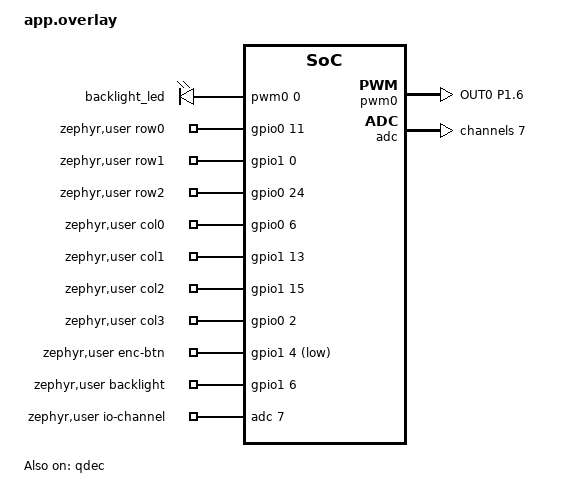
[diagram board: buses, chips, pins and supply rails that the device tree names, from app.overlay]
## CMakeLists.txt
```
cmake_minimum_required(VERSION 3.20.0)
find_package(Zephyr REQUIRED HINTS $ENV{ZEPHYR_BASE})
project(macropad)

target_sources(app PRIVATE
  src/main.c
  src/app_events.c
  src/app_sm.c
  src/hog.c
  )
```

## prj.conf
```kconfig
# --- СТАБІЛЬНІСТЬ ТА ПАМ'ЯТЬ ---
CONFIG_MAIN_STACK_SIZE=4096
CONFIG_SYSTEM_WORKQUEUE_STACK_SIZE=4096
CONFIG_BT_RX_STACK_SIZE=2048
CONFIG_HEAP_MEM_POOL_SIZE=2048

CONFIG_BT=y     
CONFIG_LOG=n
CONFIG_BT_SMP=y
CONFIG_BT_PERIPHERAL=y
CONFIG_BT_DIS=y
CONFIG_BT_BAS=y
CONFIG_BT_DEVICE_NAME="My Macropad"
CONFIG_BT_DEVICE_APPEARANCE=961 

CONFIG_BT_SETTINGS=y
CONFIG_FLASH=y
CONFIG_FLASH_PAGE_LAYOUT=y
CONFIG_FLASH_MAP=y
CONFIG_NVS=y
CONFIG_SETTINGS=y

CONFIG_GPIO=y

CONFIG_USE_DT_CODE_PARTITION=n

CONFIG_CLOCK_CONTROL_NRF_K32SRC_RC=y
CONFIG_CLOCK_CONTROL_NRF_K32SRC_250PPM=y

# --- НОВІ НАЛАШТУВАННЯ ДЛЯ МАКРОПАДУ ТА МУЛЬТИПІДКЛЮЧЕННЯ ---
CONFIG_BT_MAX_CONN=3
CONFIG_BT_MAX_PAIRED=3
CONFIG_BT_BONDABLE=y
CONFIG_BT_KEYS_OVERWRITE_OLDEST=y
# Дозволяємо системі коректно спати між натисканнями
#CONFIG_PM_DEVICE=y

CONFIG_KSCAN=y

# Підтримка сенсорів (для QDEC енкодера)
CONFIG_SENSOR=y

# Якщо плануєш використовувати PWM для плавного згасання LED (опціонально)
CONFIG_PWM=y
CONFIG_LED=y

# Перенаправлення консолі на RTT
CONFIG_USE_SEGGER_RTT=n
CONFIG_RTT_CONSOLE=n
CONFIG_CONSOLE=n
CONFIG_UART_CONSOLE=n

# Обов'язково для nRF52, щоб він не засинав занадто глибоко під час налагодження
CONFIG_SERIAL=n

CONFIG_NFCT_PINS_AS_GPIOS=y


CONFIG_ADC=y
CONFIG_ADC_NRFX_SAADC=y
CONFIG_BT_BAS=y

# --- LOW POWER SLEEP SUPPORT ---
# nRF52840 uses standard Zephyr sleep APIs
# GPIO interrupts work with standard GPIO configuration
# No special PM config needed

CONFIG_PWM=y
CONFIG_LED=y
CONFIG_LED_PWM=y

# --- Розширення розміру пакету даних (DLE & MTU) ---
CONFIG_BT_USER_DATA_LEN_UPDATE=y
CONFIG_BT_CTLR_DATA_LENGTH_MAX=251
CONFIG_BT_BUF_ACL_RX_SIZE=251
CONFIG_BT_BUF_ACL_TX_SIZE=251
CONFIG_BT_L2CAP_TX_MTU=247
```

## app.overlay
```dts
#include <dt-bindings/gpio/gpio.h>
#include <dt-bindings/pinctrl/nrf-pinctrl.h>
#include <dt-bindings/adc/adc.h>

&pinctrl {
    /* Конфігурація для PWM */
    pwm0_default: pwm0_default {
        group1 {
            psels = <NRF_PSEL(PWM_OUT0, 1, 6)>;
            nordic,drive-mode = <NRF_DRIVE_H0H1>;
        }; /* <--- Ось ці крапки з комою були пропущені */
    };

    pwm0_sleep: pwm0_sleep {
        group1 {
            psels = <NRF_PSEL(PWM_OUT0, 1, 6)>;
            low-power-enable;
        }; /* <--- */
    };

    /* Конфігурація для QDEC (Енкодер) */
    qdec_default: qdec_default {
        group1 {
            psels = <NRF_PSEL(QDEC_A, 0, 9)>, 
                    <NRF_PSEL(QDEC_B, 0, 10)>;
            bias-pull-up;
        }; /* <--- */
    };
    
    qdec_sleep: qdec_sleep {
        group1 {
            psels = <NRF_PSEL(QDEC_A, 0, 9)>, 
                    <NRF_PSEL(QDEC_B, 0, 10)>;
            bias-pull-up;
            low-power-enable;
        }; /* <--- */
    };
};


/* Активація PWM */
&pwm0 {
    status = "okay";
    pinctrl-0 = <&pwm0_default>;
    pinctrl-1 = <&pwm0_sleep>;
    pinctrl-names = "default", "sleep";
};

/* 2. Активація апаратного декодера для енкодера */
&qdec {
    status = "okay";
    pinctrl-0 = <&qdec_default>;
    pinctrl-1 = <&qdec_sleep>;
    pinctrl-names = "default", "sleep";
    steps = <24>;
    led-pre = <0>;
};

&slot1_partition {
    reg = <0x82000 0x73000>;
};

&flash0 {
    partitions {
        compatible = "fixed-partitions";
        #address-cells = <1>;
        #size-cells = <1>;

        app_storage_partition: partition@f5000 {
            label = "app-storage";
            reg = <0xf5000 0x3000>;
        };
    };
};

/ {
    /* Створюємо зручний псевдонім для PWM LED */
    pwm_leds {
        compatible = "pwm-leds";
        backlight_led: pwm_led_0 {
            /* Період 1 мілісекунда (1000 Гц) - ідеально, щоб не мерехтіло на камері */
            pwms = <&pwm0 0 PWM_MSEC(1) PWM_POLARITY_NORMAL>; 
        };
    };
    /* 4. Матриця клавіатури та кнопка енкодера */
    zephyr,user {
        /* Battary (Rows): P0.31 */
        io-channels = <&adc 7>;

        /* Рядочки (Rows): P0.11, P1.00, P0.24 */
        row0-gpios = <&gpio0 11 (GPIO_ACTIVE_HIGH | GPIO_PULL_DOWN)>;
        row1-gpios = <&gpio1 0  (GPIO_ACTIVE_HIGH | GPIO_PULL_DOWN)>;
        row2-gpios = <&gpio0 24 (GPIO_ACTIVE_HIGH | GPIO_PULL_DOWN)>;
        
        /* Стовпчики (Cols): P0.06, P1.13, P1.15, P0.2 */
        col0-gpios = <&gpio0 6  GPIO_ACTIVE_HIGH>;
        col1-gpios = <&gpio1 13 GPIO_ACTIVE_HIGH>;
        col2-gpios = <&gpio1 15 GPIO_ACTIVE_HIGH>;
        col3-gpios = <&gpio0 2 GPIO_ACTIVE_HIGH>;
        
        /* Кнопка енкодера: P1.04 */
        enc-btn-gpios = <&gpio1 4 (GPIO_ACTIVE_LOW | GPIO_PULL_UP)>;
        backlight-gpios = <&gpio1 6 GPIO_ACTIVE_HIGH>; 
    };
};

&adc {
    status = "okay";
    #address-cells = <1>;
    #size-cells = <0>;

    channel@7 {
        reg = <7>;
        zephyr,gain = "ADC_GAIN_1_6";
        zephyr,reference = "ADC_REF_INTERNAL";
        zephyr,acquisition-time = <ADC_ACQ_TIME(ADC_ACQ_TIME_MICROSECONDS, 40)>;
        zephyr,input-positive = <8>;   /* AIN7 = P0.31 */
        zephyr,resolution = <12>;
    };
};
```

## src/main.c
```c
#include <zephyr/types.h>
#include <stddef.h>
#include <string.h>
#include <errno.h>
#include <zephyr/sys/printk.h>
#include <zephyr/sys/byteorder.h>
#include <zephyr/kernel.h>
#include <zephyr/settings/settings.h>
#include <zephyr/sys/reboot.h>
#include <zephyr/devicetree.h>
#include <zephyr/fs/nvs.h>
#include <zephyr/storage/flash_map.h>
#include <zephyr/drivers/flash.h>
#include <zephyr/bluetooth/bluetooth.h>
#include <zephyr/bluetooth/hci.h>
#include <zephyr/bluetooth/conn.h>
#include <zephyr/bluetooth/uuid.h>
#include <zephyr/bluetooth/gatt.h>
#include <hal/nrf_gpio.h>
#include <hal/nrf_power.h>

/* Підключаємо заголовочні файли модулів */
#include "hog.h"
#include "app_events.h"
#include "app_sm.h"

#define DIAG_IMMEDIATE_SYSTEM_OFF 0

/* Лічильник активних підключень. Потрібен для підтримки мульти-підключення 
   (коли макропад підключений до кількох пристроїв одночасно) */
uint8_t active_connections = 0;
static bool advertising_active = false;
static bool ble_hid_ready = false;
static bool bt_stack_ready = false;
static uint8_t security_fail_count = 0;

#define BLE_STORAGE_MIGRATION_ID    0x7f00
#define BLE_STORAGE_MIGRATION_MAGIC 0x42544d31u
#define APP_NVS_PARTITION           app_storage_partition
#define BT_SETTINGS_PARTITION       storage_partition

static void ble_settings_save_work_handler(struct k_work *work);
static K_WORK_DEFINE(ble_settings_save_work, ble_settings_save_work_handler);

static void ble_settings_save_work_handler(struct k_work *work)
{
    ARG_UNUSED(work);

    if (IS_ENABLED(CONFIG_SETTINGS)) {
        int save_err = settings_save();
        printk("BLE: settings_save after security err=%d\n", save_err);
    }
}

#if DIAG_IMMEDIATE_SYSTEM_OFF
static void diag_immediate_system_off(void)
{
    printk("DIAG: immediate GPIO default + SYSTEM OFF\n");

    for (uint8_t pin = 0; pin < 32; pin++) {
        nrf_gpio_cfg_default(NRF_GPIO_PIN_MAP(0, pin));
    }

#if DT_NODE_HAS_STATUS(DT_NODELABEL(gpio1), okay)
    for (uint8_t pin = 0; pin < 16; pin++) {
        nrf_gpio_cfg_default(NRF_GPIO_PIN_MAP(1, pin));
    }
#endif

    nrf_power_system_off(NRF_POWER);

    printk("DIAG ERROR: nrf_power_system_off returned\n");
    sys_reboot(SYS_REBOOT_COLD);
}
#endif

static void ble_storage_migration_once(void)
{
    struct nvs_fs fs = {0};
    struct flash_pages_info info;
    const struct flash_area *bt_area;
    uint32_t marker = 0;
    bool app_storage_erased = false;
    int err;

    fs.flash_device = FIXED_PARTITION_DEVICE(APP_NVS_PARTITION);
    if (!device_is_ready(fs.flash_device)) {
        printk("BLE: app storage flash not ready, skip migration\n");
        return;
    }

    fs.offset = FIXED_PARTITION_OFFSET(APP_NVS_PARTITION);
    err = flash_get_page_info_by_offs(fs.flash_device, fs.offset, &info);
    if (err) {
        printk("BLE: app storage page info failed err=%d\n", err);
        return;
    }

    fs.sector_size = info.size;
    fs.sector_count = FIXED_PARTITION_SIZE(APP_NVS_PARTITION) / info.size;

    err = nvs_mount(&fs);
    if (err) {
        const struct flash_area *app_area;

        printk("BLE: app storage migration mount failed err=%d, erasing app storage\n", err);
        err = flash_area_open(FIXED_PARTITION_ID(APP_NVS_PARTITION), &app_area);
        if (err) {
            printk("BLE: app storage open failed err=%d\n", err);
            return;
        }

        err = flash_area_erase(app_area, 0, app_area->fa_size);
        flash_area_close(app_area);
        if (err) {
            printk("BLE: app storage erase failed err=%d\n", err);
            return;
        }
        app_storage_erased = true;

        err = nvs_mount(&fs);
        if (err) {
            printk("BLE: app storage migration remount failed err=%d\n", err);
            return;
        }
    }

    err = nvs_read(&fs, BLE_STORAGE_MIGRATION_ID, &marker, sizeof(marker));
    if (err == sizeof(marker) && marker == BLE_STORAGE_MIGRATION_MAGIC) {
        return;
    }

    if (!app_storage_erased) {
        const struct flash_area *app_area;

        err = flash_area_open(FIXED_PARTITION_ID(APP_NVS_PARTITION), &app_area);
        if (err) {
            printk("BLE: app storage open failed err=%d\n", err);
            return;
        }

        err = flash_area_erase(app_area, 0, app_area->fa_size);
        flash_area_close(app_area);
        if (err) {
            printk("BLE: app storage erase failed err=%d\n", err);
            return;
        }

        err = nvs_mount(&fs);
        if (err) {
            printk("BLE: app storage migration remount failed err=%d\n", err);
            return;
        }
    }

    err = flash_area_open(FIXED_PARTITION_ID(BT_SETTINGS_PARTITION), &bt_area);
    if (err) {
        printk("BLE: settings partition open failed err=%d\n", err);
        return;
    }

    err = flash_area_erase(bt_area, 0, bt_area->fa_size);
    flash_area_close(bt_area);
    if (err) {
        printk("BLE: settings partition erase failed err=%d\n", err);
        return;
    }

    marker = BLE_STORAGE_MIGRATION_MAGIC;
    err = nvs_write(&fs, BLE_STORAGE_MIGRATION_ID, &marker, sizeof(marker));
    printk("BLE: split app storage from BT settings, erased old settings err=%d\n", err < 0 ? err : 0);
}
/* ========================================================================== *
 * 1. НАЛАШТУВАННЯ РЕКЛАМИ (ADVERTISING)
 * Це те, що бачить телефон або комп'ютер під час пошуку Bluetooth пристроїв
 * ========================================================================== */
static const struct bt_data ad[] = {
    /* Вказуємо, що це звичайний BLE пристрій (без підтримки старого Bluetooth Classic) */
    BT_DATA_BYTES(BT_DATA_FLAGS, (BT_LE_AD_GENERAL | BT_LE_AD_NO_BREDR)),
    
    /* Транслюємо UUID сервісів, щоб ОС відразу зрозуміла, що це за пристрій:
       - HIDS_VAL (0x1812): HID-пристрій (клавіатура/миша)
       - BAS_VAL  (0x180F): Сервіс батареї */
    BT_DATA_BYTES(BT_DATA_UUID16_ALL,
              BT_UUID_16_ENCODE(BT_UUID_HIDS_VAL),
              BT_UUID_16_ENCODE(BT_UUID_BAS_VAL)),
};

/* Функція для запуску трансляції (щоб макропад став видимим для пошуку) */
int ble_app_start_advertising(void)
{
    static bool first_advertising_after_boot = true;
    if (first_advertising_after_boot) {
        first_advertising_after_boot = false;
        printk("BLE: first advertising after boot, waiting for host/security stability\n");
        k_msleep(1000);
    }

    int err = bt_le_adv_stop();
    if (err && err != -EALREADY) {
        printk("BLE: Advertising stop before restart failed (err %d)\n", err);
    }

    err = bt_le_adv_start(BT_LE_ADV_CONN_NAME, ad, ARRAY_SIZE(ad), NULL, 0);
    if (err) {
        if (err == -EALREADY) {
            printk("BLE: Advertising already started\n");
            advertising_active = true;
        } else {
            printk("BLE: Advertising failed to start (err %d), retrying\n", err);
            k_msleep(50);
            err = bt_le_adv_start(BT_LE_ADV_CONN_NAME, ad, ARRAY_SIZE(ad), NULL, 0);
            if (!err) {
                printk("BLE: Advertising successfully started on retry\n");
                advertising_active = true;
            } else {
                printk("BLE: Advertising retry failed (err %d)\n", err);
                return err;
            }
        }
    } else {
        printk("BLE: Advertising successfully started\n");
        advertising_active = true;
    }

    return 0;
}

/* Stop advertising */
int ble_app_stop_advertising(void)
{
    int err = bt_le_adv_stop();
    if (err && err != -EALREADY && err != -EINVAL) {
        printk("BLE: Advertising stop failed (err %d)\n", err);
        return err;
    }

    advertising_active = false;
    printk("BLE: Advertising stopped\n");
    return 0;
}

/* Get active connection count */
uint8_t ble_app_active_connections(void)
{
    return active_connections;
}

/* Check if we have free connection slots */
bool ble_app_has_free_connection_slots(void)
{
    return active_connections < CONFIG_BT_MAX_CONN;
}

bool ble_app_can_send_hid(void)
{
    return active_connections > 0 && ble_hid_ready;
}

static void disconnect_one_conn_for_clear_bonds(struct bt_conn *conn, void *data)
{
    ARG_UNUSED(data);

    int err = bt_conn_disconnect(conn, BT_HCI_ERR_REMOTE_USER_TERM_CONN);
    printk("BT: disconnect for clear bonds err=%d\n", err);
}

static void disconnect_one_conn_for_sleep(struct bt_conn *conn, void *data)
{
    ARG_UNUSED(data);

    int err = bt_conn_disconnect(conn, BT_HCI_ERR_REMOTE_USER_TERM_CONN);
    if (err) {
        printk("BLE: sleep disconnect failed err=%d\n", err);
    }
}

/* Low-level BLE shutdown requested by app_sm before SYSTEM OFF. */
void ble_app_disconnect_all_for_sleep(void)
{
    ble_app_stop_advertising();
    bt_conn_foreach(BT_CONN_TYPE_LE, disconnect_one_conn_for_sleep, NULL);
    printk("BLE: forced off for sleep\n");
}

/* Clear all bonding records */
int ble_app_clear_bonds(void)
{
    printk("BT: clear bonds requested\n");

    if (!bt_stack_ready) {
        printk("BT ERROR: clear bonds requested before Bluetooth ready\n");
        return -EAGAIN;
    }

    /* Stop advertising before disconnecting. This is not the sleep flow. */
    ble_app_stop_advertising();

    /* Disconnect all active LE connections without using sleep helper */
    bt_conn_foreach(BT_CONN_TYPE_LE, disconnect_one_conn_for_clear_bonds, NULL);

    /* Let the controller finish the disconnect procedure */
    k_msleep(500);

    int err = bt_unpair(BT_ID_DEFAULT, BT_ADDR_LE_ANY);
    printk("BT: bt_unpair returned %d\n", err);

    if (err == 0) {
        printk("BT: all local bonds cleared\n");
    } else {
        printk("BT ERROR: bt_unpair failed err=%d\n", err);
    }

    if (IS_ENABLED(CONFIG_SETTINGS)) {
        int save_err = settings_save();
        printk("BT: settings_save returned %d\n", save_err);
    }

    printk("BT: local bonds clear flow complete. Remove/Forgot device on host too.\n");
    printk("BT: rebooting after clear bonds\n");

    k_msleep(500);
#ifdef CONFIG_REBOOT
    sys_reboot(SYS_REBOOT_COLD);
#else
    NVIC_SystemReset();
#endif
    return err;
}

/* Deprecated: use ble_app_start_advertising() instead */
__attribute__((unused))
static void start_advertising(void)
{
    ble_app_start_advertising();
}

/* ========================================================================== *
 * 2. КОЛБЕКИ (ОБРОБНИКИ ПОДІЙ) BLUETOOTH З'ЄДНАННЯ
 * Спрацьовують автоматично, коли хтось підключається або відключається
 * ========================================================================== */

/* Викликається, коли пристрій (ПК або телефон) успішно підключився */
static void connected(struct bt_conn *conn, uint8_t err)
{
    char addr[BT_ADDR_LE_STR_LEN];
    bt_addr_le_to_str(bt_conn_get_dst(conn), addr, sizeof(addr));

    if (err) {
        printk("Failed to connect to %s (%u)\n", addr, err);
        return;
    }

    active_connections++;
    ble_hid_ready = false;
    printk("BLE: Connected %s. Total connections: %d\n", addr, active_connections);

    int sec_err = bt_conn_set_security(conn, BT_SECURITY_L2);
    if (sec_err && sec_err != -EALREADY) {
        printk("BLE: security request failed err=%d\n", sec_err);
    }

    /* Post event to state machine (do not make strategic decisions here) */
    app_post_simple(APP_EVT_BLE_CONNECTED);
}

/* Викликається, коли пристрій відключається (наприклад, вимкнули Bluetooth на ПК) */
static void disconnected(struct bt_conn *conn, uint8_t reason)
{
    char addr[BT_ADDR_LE_STR_LEN];
    bt_addr_le_to_str(bt_conn_get_dst(conn), addr, sizeof(addr));

    if (active_connections > 0) {
        active_connections--;
    }

    ble_hid_ready = false;

    printk("BLE: Disconnected from %s (reason 0x%02x). Total connections: %d\n", addr, reason, active_connections);

    /* Post disconnect event to state machine (state machine will decide about advertising) */
    struct app_event evt = {
        .type = APP_EVT_BLE_DISCONNECTED,
        .data = {
            .ble = {
                .reason = reason,
            }
        }
    };
    app_post_event(&evt);
}

/* Викликається при зміні статусу безпеки (успішне або неуспішне створення пари) */
static void security_changed(struct bt_conn *conn, bt_security_t level, enum bt_security_err err)
{
    char addr[BT_ADDR_LE_STR_LEN];
    bt_addr_le_to_str(bt_conn_get_dst(conn), addr, sizeof(addr));

    if (!err) {
        printk("BLE: Security changed: %s level %u\n", addr, level);
        if (level >= BT_SECURITY_L2) {
            ble_hid_ready = true;
            security_fail_count = 0;
            k_work_submit(&ble_settings_save_work);
            app_post_simple(APP_EVT_BLE_HID_READY);
        }
    } else {
        ble_hid_ready = false;
        security_fail_count++;
        printk("BLE: Security failed: %s level %u err %d\n", addr, level, err);
        app_post_security_failed(err);
    }

    /* Post event to state machine for tracking */
    app_post_simple(APP_EVT_BLE_SECURITY_CHANGED);
}

/* Реєструємо наші обробники подій в системі Zephyr */
BT_CONN_CB_DEFINE(conn_callbacks) = {
    .connected = connected,
    .disconnected = disconnected,
    .security_changed = security_changed,
};

/* ========================================================================== *
 * 3. АВТОРИЗАЦІЯ ТА СТВОРЕННЯ ПАРИ (PAIRING)
 * ========================================================================== */

/* Якщо для створення пари потрібен пін-код (зазвичай для клавіатур без екрану це не використовується, 
   але залишено для сумісності з `CONFIG_SAMPLE_BT_USE_AUTHENTICATION`) */
static void auth_passkey_display(struct bt_conn *conn, unsigned int passkey)
{
    char addr[BT_ADDR_LE_STR_LEN];
    bt_addr_le_to_str(bt_conn_get_dst(conn), addr, sizeof(addr));
    printk("Passkey for %s: %06u\n", addr, passkey);
}

static void auth_cancel(struct bt_conn *conn)
{
    char addr[BT_ADDR_LE_STR_LEN];
    bt_addr_le_to_str(bt_conn_get_dst(conn), addr, sizeof(addr));
    printk("Pairing cancelled: %s\n", addr);
}

static struct bt_conn_auth_cb auth_cb_display = {
    .passkey_display = auth_passkey_display,
    .passkey_entry = NULL,
    .cancel = auth_cancel,
};

/* ========================================================================== *
 * 4. ІНІЦІАЛІЗАЦІЯ ТА ГОЛОВНИЙ ЦИКЛ
 * ========================================================================== */

/* Ця функція викликається автоматично, коли підсистема Bluetooth готова до роботи */
static void bt_ready(int err)
{
    if (err) {
        printk("Bluetooth init failed (err %d)\n", err);
        app_post_error(err);
        return;
    }
    printk("BLE: Bluetooth initialized\n");
    bt_stack_ready = true;

    /* ВАЖЛИВО: Завантажуємо збережені налаштування Bluetooth з Flash пам'яті (NVS).
       Це потрібно, щоб макропад "пам'ятав" спарені комп'ютери після перезавантаження */
    if (IS_ENABLED(CONFIG_SETTINGS)) {
        int settings_err = settings_load();
        printk("BLE: settings_load err=%d\n", settings_err);
    }

    /* Post event to state machine */
    app_post_simple(APP_EVT_BT_READY);
}

/* Точка входу в програму */
int main(void)
{
    int err;

    printk("\n=== MACROPAD V10 with Event-Driven Architecture ===\n");

#if DIAG_IMMEDIATE_SYSTEM_OFF
    diag_immediate_system_off();
#endif

    ble_storage_migration_once();

    /* Initialize and start the state machine after storage migration */
    app_sm_init();

    /* Start state machine thread */
    app_sm_start();

    /* Реєструємо колбеки для створення пари, якщо автентифікація увімкнена в конфігах */
    if (IS_ENABLED(CONFIG_SAMPLE_BT_USE_AUTHENTICATION)) {
        bt_conn_auth_cb_register(&auth_cb_display);
    }

    /* Вмикаємо Bluetooth. Коли він увімкнеться, викличеться колбек bt_ready */
    err = bt_enable(bt_ready);
    if (err) {
        printk("Bluetooth init failed (err %d)\n", err);
        return 0;
    }

    /* Main thread waits forever, events are processed by app_sm and handlers */
    k_sleep(K_FOREVER);

    return 0;
}
```

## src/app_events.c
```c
/** @file
 *  @brief Application Event System Implementation
 */

#include "app_events.h"
#include <zephyr/kernel.h>
#include <zephyr/sys/atomic.h>
#include <zephyr/sys/printk.h>
#include <string.h>

/* Define event message queue: 32 messages of event size, 4-byte alignment */
K_MSGQ_DEFINE(app_event_msgq, sizeof(struct app_event), 32, 4);

static atomic_t block_noncritical_events;

void app_events_block_noncritical(bool blocked)
{
    atomic_set(&block_noncritical_events, blocked ? 1 : 0);
}

void app_post_event(const struct app_event *evt)
{
    if (!evt) {
        printk("APP: Error - NULL event\n");
        return;
    }

    if (atomic_get(&block_noncritical_events) && evt->type != APP_EVT_ERROR) {
        return;
    }

    int err = k_msgq_put(&app_event_msgq, (void *)evt, K_NO_WAIT);
    if (err) {
        printk("APP: Event queue full (type %d), dropped event\n", evt->type);
    }
}

void app_post_simple(enum app_event_type type)
{
    struct app_event evt = {
        .type = type,
        .data.u8 = {0}
    };
    app_post_event(&evt);
}

void app_post_key(enum app_event_type type, uint8_t row, uint8_t col)
{
    struct app_event evt = {
        .type = type,
        .data = {
            .key = {
                .row = row,
                .col = col,
            }
        }
    };
    app_post_event(&evt);
}

void app_post_u8(enum app_event_type type, uint8_t value)
{
    struct app_event evt = {
        .type = type,
        .data = {
            .u8 = {
                .value = value,
            }
        }
    };
    app_post_event(&evt);
}

void app_post_encoder_delta(int delta)
{
    if (delta == 0) {
        return;
    }

    if (delta > 127) {
        delta = 127;
    } else if (delta < -127) {
        delta = -127;
    }

    struct app_event evt = {
        .type = APP_EVT_ENCODER_DELTA,
        .data = {
            .encoder = {
                .delta = delta,
            }
        }
    };
    app_post_event(&evt);
}

void app_post_security_failed(int err)
{
    struct app_event evt = {
        .type = APP_EVT_BLE_SECURITY_FAILED,
        .data = {
            .err = err,
        }
    };
    app_post_event(&evt);
}

void app_post_error(int err)
{
    struct app_event evt = {
        .type = APP_EVT_ERROR,
        .data = {
            .err = err,
        }
    };
    app_post_event(&evt);
}

int app_wait_event(struct app_event *evt)
{
    if (!evt) {
        return -EINVAL;
    }

    int err = k_msgq_get(&app_event_msgq, evt, K_FOREVER);
    return err;
}

/**
 * @brief Get human-readable name for event type (for debug logging)
 */
const char *app_event_type_name(enum app_event_type type)
{
    switch (type) {
    case APP_EVT_BOOT:                   return "BOOT";
    case APP_EVT_BT_READY:               return "BT_READY";
    case APP_EVT_BLE_CONNECTED:          return "BLE_CONNECTED";
    case APP_EVT_BLE_DISCONNECTED:       return "BLE_DISCONNECTED";
    case APP_EVT_BLE_SECURITY_CHANGED:   return "BLE_SECURITY_CHANGED";
    case APP_EVT_BLE_HID_READY:          return "BLE_HID_READY";
    case APP_EVT_BLE_SECURITY_FAILED:    return "BLE_SECURITY_FAILED";
    case APP_EVT_KEY_PRESSED:            return "KEY_PRESSED";
    case APP_EVT_KEY_RELEASED:           return "KEY_RELEASED";
    case APP_EVT_ENCODER_CW:             return "ENCODER_CW";
    case APP_EVT_ENCODER_CCW:            return "ENCODER_CCW";
    case APP_EVT_ENCODER_DELTA:          return "ENCODER_DELTA";
    case APP_EVT_ENCODER_BUTTON_PRESSED: return "ENCODER_BUTTON_PRESSED";
    case APP_EVT_ENCODER_BUTTON_RELEASED:return "ENCODER_BUTTON_RELEASED";
    case APP_EVT_INACTIVITY_TIMEOUT:     return "INACTIVITY_TIMEOUT";
    case APP_EVT_ADVERTISING_RESTART:    return "ADVERTISING_RESTART";
    case APP_EVT_BATTERY_TICK:           return "BATTERY_TICK";
    case APP_EVT_PROFILE_CHANGED:        return "PROFILE_CHANGED";
    case APP_EVT_BACKLIGHT_CHANGED:      return "BACKLIGHT_CHANGED";
    case APP_EVT_SLEEP_TIMEOUT_CHANGED:  return "SLEEP_TIMEOUT_CHANGED";
    case APP_EVT_SEQUENCE_RUN_REQUESTED: return "SEQUENCE_RUN_REQUESTED";
    case APP_EVT_CLEAR_BONDS_REQUESTED:  return "CLEAR_BONDS_REQUESTED";
    case APP_EVT_PREPARE_SLEEP:          return "PREPARE_SLEEP";
    case APP_EVT_ENTER_SYSTEM_OFF:       return "ENTER_SYSTEM_OFF";
    case APP_EVT_ERROR:                  return "ERROR";
    default:                             return "UNKNOWN";
    }
}
```

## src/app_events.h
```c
/** @file
 *  @brief Application Event System
 *  
 *  Centralized event queue for event-driven architecture.
 *  All events from BLE, GPIO, timers, etc. are posted here,
 *  and consumed by the app state machine.
 */

#ifndef APP_EVENTS_H
#define APP_EVENTS_H

#include <stdbool.h>
#include <stdint.h>

/**
 * @brief Application Event Types
 */
enum app_event_type {
    /* System boot */
    APP_EVT_BOOT,

    /* Bluetooth events */
    APP_EVT_BT_READY,
    APP_EVT_BLE_CONNECTED,
    APP_EVT_BLE_DISCONNECTED,
    APP_EVT_BLE_SECURITY_CHANGED,
    APP_EVT_BLE_HID_READY,
    APP_EVT_BLE_SECURITY_FAILED,

    /* Input events - keyboard matrix */
    APP_EVT_KEY_PRESSED,
    APP_EVT_KEY_RELEASED,

    /* Input events - encoder */
    APP_EVT_ENCODER_CW,
    APP_EVT_ENCODER_CCW,
    APP_EVT_ENCODER_DELTA,
    APP_EVT_ENCODER_BUTTON_PRESSED,
    APP_EVT_ENCODER_BUTTON_RELEASED,

    /* Timers and periodic events */
    APP_EVT_INACTIVITY_TIMEOUT,
    APP_EVT_ADVERTISING_RESTART,
    APP_EVT_BATTERY_TICK,

    /* Configuration events */
    APP_EVT_PROFILE_CHANGED,
    APP_EVT_BACKLIGHT_CHANGED,
    APP_EVT_SLEEP_TIMEOUT_CHANGED,
    APP_EVT_SEQUENCE_RUN_REQUESTED,

    /* User action events */
    APP_EVT_CLEAR_BONDS_REQUESTED,

    /* Power management events */
    APP_EVT_PREPARE_SLEEP,
    APP_EVT_ENTER_SYSTEM_OFF,

    /* Error events */
    APP_EVT_ERROR,
};

/**
 * @brief Application Event Structure
 * 
 * Contains event type and optional event-specific data.
 */
struct app_event {
    enum app_event_type type;

    union {
        /* For key press/release: row and column */
        struct {
            uint8_t row;
            uint8_t col;
        } key;

        /* For BLE events: reason code */
        struct {
            uint8_t reason;
        } ble;

        /* For profile/config: index or value */
        struct {
            uint8_t profile_index;
        } profile;

        /* Encoder delta (signed rotation amount) */
        struct {
            int8_t delta;
        } encoder;

        /* Generic 8-bit value */
        struct {
            uint8_t value;
        } u8;

        /* Error code */
        int err;
    } data;
};

/**
 * @brief Post a complete event to the queue
 * 
 * @param evt Pointer to the event structure
 */
void app_post_event(const struct app_event *evt);

/**
 * @brief Post a simple event (no additional data)
 * 
 * @param type Event type
 */
void app_post_simple(enum app_event_type type);

/**
 * @brief Post a key event (press or release)
 * 
 * @param type APP_EVT_KEY_PRESSED or APP_EVT_KEY_RELEASED
 * @param row Matrix row index
 * @param col Matrix column index
 */
void app_post_key(enum app_event_type type, uint8_t row, uint8_t col);

/**
 * @brief Post an event with 8-bit value
 * 
 * @param type Event type
 * @param value 8-bit value
 */
void app_post_u8(enum app_event_type type, uint8_t value);

/**
 * @brief Post an encoder delta event
 * 
 * @param delta Signed encoder delta
 */
void app_post_encoder_delta(int delta);

/**
 * @brief Post a BLE security failed event
 * 
 * @param err BLE security error code
 */
void app_post_security_failed(int err);

/**
 * @brief Post an error event
 * 
 * @param err Error code
 */
void app_post_error(int err);

/**
 * @brief Drop all newly posted non-critical events.
 *
 * APP_EVT_ERROR is still accepted so fatal failures can be observed.
 */
void app_events_block_noncritical(bool blocked);

/**
 * @brief Wait for an event from the queue
 * 
 * Blocks until an event is available.
 * 
 * @param evt Pointer to store received event
 * @return 0 on success, error code otherwise
 */
int app_wait_event(struct app_event *evt);

/**
 * @brief Get human-readable name for event type
 * 
 * Useful for debug logging.
 * 
 * @param type Event type
 * @return String name of the event type
 */
const char *app_event_type_name(enum app_event_type type);

#endif /* APP_EVENTS_H */
```

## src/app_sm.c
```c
/** @file
 *  @brief Application State Machine Implementation
 */

#include "app_sm.h"
#include "app_events.h"
#include "hog.h"
#include <zephyr/kernel.h>
#include <zephyr/sys/printk.h>
#include <zephyr/sys/reboot.h>
#include <zephyr/bluetooth/bluetooth.h>

extern int ble_app_start_advertising(void);
extern int ble_app_stop_advertising(void);
extern uint8_t ble_app_active_connections(void);
extern void ble_app_disconnect_all_for_sleep(void);
extern int ble_app_clear_bonds(void);

#define DEBUG_COMBO_LOG 0
#define DEBUG_ENCODER_LOG 0

/**
 * @brief Application States
 */
enum app_state {
    APP_STATE_BOOT,            /* Initial state */
    APP_STATE_INIT_HW,         /* Initializing hardware */
    APP_STATE_INIT_BT,         /* Waiting for BT to be ready */
    APP_STATE_ADVERTISING,     /* Advertising and ready for connection */
    APP_STATE_LOW_POWER_CONNECTED, /* Connected with backlight off */
    APP_STATE_ACTIVE,          /* Active input processing */
    APP_STATE_PREPARE_SLEEP,   /* Preparing for system off */
    APP_STATE_SYSTEM_OFF,      /* System off (should not return) */
    APP_STATE_ERROR,           /* Error state */
};

static enum app_state current_state = APP_STATE_BOOT;
static bool sleep_in_progress = false;
static bool pending_clear_bonds = false;
static uint8_t reconnect_fail_count = 0;

static void advertising_restart_work_handler(struct k_work *work);
static void cancel_advertising_restart(void);
static K_WORK_DELAYABLE_DEFINE(advertising_restart_work, advertising_restart_work_handler);

/**
 * @brief Helper to get state name for logging
 */
static const char *state_name(enum app_state s)
{
    switch (s) {
    case APP_STATE_BOOT:           return "BOOT";
    case APP_STATE_INIT_HW:        return "INIT_HW";
    case APP_STATE_INIT_BT:        return "INIT_BT";
    case APP_STATE_ADVERTISING:    return "ADVERTISING";
    case APP_STATE_LOW_POWER_CONNECTED: return "LOW_POWER_CONNECTED";
    case APP_STATE_ACTIVE:         return "ACTIVE";
    case APP_STATE_PREPARE_SLEEP:  return "PREPARE_SLEEP";
    case APP_STATE_SYSTEM_OFF:     return "SYSTEM_OFF";
    case APP_STATE_ERROR:          return "ERROR";
    default:                        return "UNKNOWN";
    }
}

const char *app_sm_get_state_name(void)
{
    return state_name(current_state);
}

/**
 * @brief Change state with logging
 */
static void change_state(enum app_state new_state)
{
    if (new_state == current_state) {
        return;
    }

    printk("APP: state %s -> %s\n", state_name(current_state), state_name(new_state));
    current_state = new_state;
}

/**
 * @brief Called when entering a state
 */
static void on_enter(enum app_state state)
{
    switch (state) {
    case APP_STATE_BOOT:
        /* Boot just posts another event */
        break;

    case APP_STATE_INIT_HW:
        printk("APP: Initializing hardware...\n");
        hog_init();
        input_scan_init();
        inactivity_timer_init();
        hog_button_loop();
        input_scan_set_enabled(true);
        /* Automatically transition to INIT_BT after initialization */
        change_state(APP_STATE_INIT_BT);
        break;

    case APP_STATE_INIT_BT:
        printk("APP: Waiting for Bluetooth ready...\n");
        /* Transition happens via APP_EVT_BT_READY */
        break;

    case APP_STATE_ADVERTISING:
        printk("APP: Starting BLE advertising\n");
        input_scan_set_enabled(true);
        ble_app_start_advertising();
        inactivity_timer_reset();
        break;

    case APP_STATE_LOW_POWER_CONNECTED:
        printk("APP: Connected low-power mode\n");
        input_scan_set_enabled(true);
        input_enter_low_power_connected();
        inactivity_timer_reset_system_off_timeout();
        break;

    case APP_STATE_ACTIVE:
        printk("APP: Active input processing\n");
        input_scan_set_enabled(true);
        inactivity_timer_reset();
        break;

    case APP_STATE_PREPARE_SLEEP:
        printk("APP: Preparing for sleep...\n");
        sleep_in_progress = true;
        app_events_block_noncritical(true);
        cancel_advertising_restart();
        inactivity_timer_stop();
        input_scan_set_enabled(false);
        input_disable_runtime_interrupts();
        ble_app_disconnect_all_for_sleep();
        power_prepare_system_off();
        printk("APP: entering real SYSTEM OFF now\n");
        printk("APP: state %s -> %s\n", state_name(current_state), state_name(APP_STATE_SYSTEM_OFF));
        current_state = APP_STATE_SYSTEM_OFF;
        power_enter_system_off();
        /* If we return, system off failed, reboot to recover */
        printk("APP ERROR: power_enter_system_off returned, rebooting\n");
#ifdef CONFIG_REBOOT
        sys_reboot(SYS_REBOOT_COLD);
#else
        NVIC_SystemReset();
#endif
        break;

    case APP_STATE_SYSTEM_OFF:
        printk("APP: Entering system off\n");
        sleep_in_progress = true;
        app_events_block_noncritical(true);
        power_enter_system_off();
        /* Should never return from system_off */
        break;

    case APP_STATE_ERROR:
        printk("APP: ERROR state\n");
        break;

    default:
        break;
    }
}

static void cancel_advertising_restart(void)
{
    k_work_cancel_delayable(&advertising_restart_work);
}

static void advertising_restart_work_handler(struct k_work *work)
{
    ARG_UNUSED(work);

    if (sleep_in_progress) {
        return;
    }

    app_post_simple(APP_EVT_ADVERTISING_RESTART);
}

static void schedule_advertising_restart(uint8_t reason)
{
    if (sleep_in_progress) {
        return;
    }

    reconnect_fail_count++;
    uint32_t delay_ms = reconnect_fail_count * 1000U;

    if (delay_ms > 10000U) {
        delay_ms = 10000U;
    }

    if (reconnect_fail_count >= 5) {
        printk("APP: too many reconnect failures; bonds likely stale. Use clear-bonds combo and remove host device.\n");
    }

    printk("APP: scheduling advertising restart %u ms after disconnect reason 0x%02x\n",
           delay_ms, reason);

    ble_app_stop_advertising();
    change_state(APP_STATE_ADVERTISING);
    input_scan_set_enabled(true);
    inactivity_timer_reset();
    k_work_reschedule(&advertising_restart_work, K_MSEC(delay_ms));
}

/**
 * @brief Called when exiting a state (if needed for cleanup)
 */
__attribute__((unused))
static void on_exit(enum app_state state)
{
    (void)state;
    /* Most states don't need exit logic for now */
}

/**
 * @brief Handle input events (key press/release, encoder)
 */
/**
 * @brief Check and handle clear bonds combo (encoder button + 2+ matrix keys)
 * 
 * This helper is called after input events to detect the combo.
 * If detected, it clears BLE bonding records and restarts advertising.
 */
static bool app_check_clear_bonds_combo(void)
{
#if DEBUG_COMBO_LOG
    printk("APP: combo check enc=%d keys=%u done=%d\n",
           input_encoder_button_is_pressed(),
           input_keyboard_pressed_count(),
           input_combo_unpair_already_done());
#endif

    if (input_combo_unpair_condition()) {
        if (!input_combo_unpair_already_done()) {
            printk("APP: Clear bonds combo detected\n");
            input_combo_unpair_set_done(true);
            int err = ble_app_clear_bonds();
            if (err) {
                input_combo_unpair_set_done(false);
            }
        }
        return true;
    }

    if (input_combo_unpair_already_done()) {
        printk("APP: Clear bonds combo latch reset\n");
    }
    input_combo_unpair_set_done(false);
    return false;
}

static void app_handle_input_event_common(const struct app_event *evt)
{
    enum app_event_type type = evt->type;

    if (current_state == APP_STATE_LOW_POWER_CONNECTED &&
        (type == APP_EVT_KEY_PRESSED ||
         type == APP_EVT_ENCODER_CW ||
         type == APP_EVT_ENCODER_CCW ||
         type == APP_EVT_ENCODER_DELTA ||
         type == APP_EVT_ENCODER_BUTTON_PRESSED)) {
        input_exit_low_power_connected();
        change_state(APP_STATE_ACTIVE);
    }

    inactivity_timer_reset();

    if (app_check_clear_bonds_combo()) {
        return;
    }

    switch (type) {
    case APP_EVT_KEY_PRESSED:
        printk("APP: Key pressed [%d,%d]\n", evt->data.key.row, evt->data.key.col);
        input_handle_key_pressed(evt->data.key.row, evt->data.key.col);
        hid_send_current_input_state();
        if (ble_app_active_connections() > 0 &&
            (current_state == APP_STATE_ADVERTISING ||
             current_state == APP_STATE_LOW_POWER_CONNECTED)) {
            change_state(APP_STATE_ACTIVE);
        }
        break;

    case APP_EVT_KEY_RELEASED:
        printk("APP: Key released [%d,%d]\n", evt->data.key.row, evt->data.key.col);
        hid_send_current_input_state();
        break;

    case APP_EVT_ENCODER_CW:
#if DEBUG_ENCODER_LOG
        printk("APP: ENCODER_CW\n");
#endif
        input_execute_encoder_action(true);
        if (ble_app_active_connections() > 0 &&
            (current_state == APP_STATE_ADVERTISING ||
             current_state == APP_STATE_LOW_POWER_CONNECTED)) {
            change_state(APP_STATE_ACTIVE);
        }
        break;

    case APP_EVT_ENCODER_CCW:
#if DEBUG_ENCODER_LOG
        printk("APP: ENCODER_CCW\n");
#endif
        input_execute_encoder_action(false);
        if (ble_app_active_connections() > 0 &&
            (current_state == APP_STATE_ADVERTISING ||
             current_state == APP_STATE_LOW_POWER_CONNECTED)) {
            change_state(APP_STATE_ACTIVE);
        }
        break;

    case APP_EVT_ENCODER_DELTA:
#if DEBUG_ENCODER_LOG
        printk("APP: ENCODER_DELTA %d\n", evt->data.encoder.delta);
#endif
        input_execute_encoder_delta(evt->data.encoder.delta);
        if (ble_app_active_connections() > 0 &&
            (current_state == APP_STATE_ADVERTISING ||
             current_state == APP_STATE_LOW_POWER_CONNECTED)) {
            change_state(APP_STATE_ACTIVE);
        }
        break;

    case APP_EVT_ENCODER_BUTTON_PRESSED:
        printk("APP: Encoder button pressed\n");
        input_handle_encoder_button_event(type);
        if (ble_app_active_connections() > 0 &&
            (current_state == APP_STATE_ADVERTISING ||
             current_state == APP_STATE_LOW_POWER_CONNECTED)) {
            change_state(APP_STATE_ACTIVE);
        }
        break;

    case APP_EVT_ENCODER_BUTTON_RELEASED:
        printk("APP: Encoder button released\n");
        input_handle_encoder_button_event(type);
        break;

    default:
        break;
    }
}

/**
 * @brief Main event handler
 */
static void handle_event(const struct app_event *evt)
{
    enum app_event_type type = evt->type;

#if !DEBUG_ENCODER_LOG
    if (type != APP_EVT_ENCODER_CW && type != APP_EVT_ENCODER_CCW) {
        printk("APP: event %s in state %s\n", app_event_type_name(type), state_name(current_state));
    }
#else
    printk("APP: event %s in state %s\n", app_event_type_name(type), state_name(current_state));
#endif

    if (current_state == APP_STATE_SYSTEM_OFF) {
        printk("APP: ignoring event %s in SYSTEM_OFF\n", app_event_type_name(type));
        return;
    }

    if (current_state == APP_STATE_PREPARE_SLEEP) {
        if (type == APP_EVT_ERROR) {
            printk("APP: critical error while preparing sleep (code %d)\n", evt->data.err);
        } else {
            printk("APP: ignoring event %s while preparing sleep\n", app_event_type_name(type));
        }
        return;
    }

    switch (type) {
    case APP_EVT_BOOT:
        if (current_state == APP_STATE_BOOT) {
            change_state(APP_STATE_INIT_HW);
            on_enter(APP_STATE_INIT_HW);
        }
        break;

    case APP_EVT_BT_READY:
        if (current_state == APP_STATE_INIT_BT) {
            if (pending_clear_bonds) {
                printk("APP: performing pending clear bonds before advertising\n");
                int err = ble_app_clear_bonds();
                if (err == 0) {
                    input_combo_unpair_set_done(true);
                }
                pending_clear_bonds = false;
            } else {
                change_state(APP_STATE_ADVERTISING);
                on_enter(APP_STATE_ADVERTISING);
            }
        }
        break;

    case APP_EVT_BLE_CONNECTED:
        printk("APP: BLE connected\n");
        cancel_advertising_restart();
        if (current_state == APP_STATE_ADVERTISING) {
            change_state(APP_STATE_ACTIVE);
            on_enter(APP_STATE_ACTIVE);
        }
        break;

    case APP_EVT_BLE_DISCONNECTED:
        printk("APP: BLE disconnected (reason %d)\n", evt->data.ble.reason);
        if (ble_app_active_connections() == 0) {
            if (current_state == APP_STATE_LOW_POWER_CONNECTED) {
                change_state(APP_STATE_PREPARE_SLEEP);
                on_enter(APP_STATE_PREPARE_SLEEP);
                break;
            }

            if (evt->data.ble.reason == 0x13 || evt->data.ble.reason == 0x24) {
                schedule_advertising_restart(evt->data.ble.reason);
                break;
            }
            change_state(APP_STATE_ADVERTISING);
            on_enter(APP_STATE_ADVERTISING);
        }
        /* If there are still active connections, stay in the current connected state. */
        break;

    case APP_EVT_ADVERTISING_RESTART:
        if (current_state == APP_STATE_ADVERTISING &&
            ble_app_active_connections() == 0) {
            on_enter(APP_STATE_ADVERTISING);
        } else {
            printk("APP: advertising restart skipped by state/connections\n");
        }
        break;

    case APP_EVT_BLE_SECURITY_CHANGED:
        printk("APP: Security changed\n");
        break;

    case APP_EVT_BLE_HID_READY:
        printk("APP: BLE HID ready\n");
        cancel_advertising_restart();
        reconnect_fail_count = 0;
        break;

    case APP_EVT_BLE_SECURITY_FAILED:
        printk("APP: BLE security failed err=%d\n", evt->data.err);
        if (evt->data.err == 9 || evt->data.err == 4 || evt->data.err == 2) {
            printk("APP: security failed; likely stale bond on host or device\n");
        }
        break;

    case APP_EVT_CLEAR_BONDS_REQUESTED:
        printk("APP: clear bonds requested\n");
        if (current_state == APP_STATE_INIT_BT) {
            pending_clear_bonds = true;
            printk("APP: clear bonds pending until BT ready\n");
        } else {
            int err = ble_app_clear_bonds();
            if (err == 0) {
                input_combo_unpair_set_done(true);
            }
        }
        break;

    case APP_EVT_KEY_PRESSED:
    case APP_EVT_KEY_RELEASED:
    case APP_EVT_ENCODER_CW:
    case APP_EVT_ENCODER_CCW:
    case APP_EVT_ENCODER_DELTA:
    case APP_EVT_ENCODER_BUTTON_PRESSED:
    case APP_EVT_ENCODER_BUTTON_RELEASED:
        app_handle_input_event_common(evt);
        break;

    case APP_EVT_INACTIVITY_TIMEOUT:
        printk("APP: Inactivity timeout\n");
        if (current_state == APP_STATE_ACTIVE &&
            ble_app_active_connections() > 0) {
            change_state(APP_STATE_LOW_POWER_CONNECTED);
            on_enter(APP_STATE_LOW_POWER_CONNECTED);
        } else if (current_state != APP_STATE_PREPARE_SLEEP &&
                   current_state != APP_STATE_SYSTEM_OFF) {
            change_state(APP_STATE_PREPARE_SLEEP);
            on_enter(APP_STATE_PREPARE_SLEEP);
        }
        break;

    case APP_EVT_BATTERY_TICK:
        /* Handled by battery module, no state change needed */
        break;

    case APP_EVT_PROFILE_CHANGED:
        printk("APP: Profile changed to %d\n", evt->data.u8.value);
        input_apply_profile_change(evt->data.u8.value);
        break;

    case APP_EVT_BACKLIGHT_CHANGED:
        printk("APP: Backlight changed\n");
        input_apply_backlight_command(evt->data.u8.value);
        break;

    case APP_EVT_SLEEP_TIMEOUT_CHANGED:
        printk("APP: Sleep timeout changed\n");
        input_apply_sleep_timeout(evt->data.u8.value);
        break;

    case APP_EVT_SEQUENCE_RUN_REQUESTED:
        printk("APP: Sequence run requested\n");
        input_execute_sequence(evt->data.u8.value);
        break;

    case APP_EVT_PREPARE_SLEEP:
        if (current_state != APP_STATE_PREPARE_SLEEP) {
            change_state(APP_STATE_PREPARE_SLEEP);
            on_enter(APP_STATE_PREPARE_SLEEP);
        }
        break;

    case APP_EVT_ENTER_SYSTEM_OFF:
        if (current_state != APP_STATE_PREPARE_SLEEP &&
            current_state != APP_STATE_SYSTEM_OFF) {
            change_state(APP_STATE_PREPARE_SLEEP);
            on_enter(APP_STATE_PREPARE_SLEEP);
        }
        break;

    case APP_EVT_ERROR:
        printk("APP: Error event (code %d)\n", evt->data.err);
        change_state(APP_STATE_ERROR);
        break;

    default:
        printk("APP: Unknown event %d\n", type);
        break;
    }
}

/**
 * @brief State Machine Thread
 */
K_THREAD_STACK_DEFINE(app_sm_stack, 4096);
static struct k_thread app_sm_thread;

static void app_sm_thread_fn(void *p1, void *p2, void *p3)
{
    (void)p1;
    (void)p2;
    (void)p3;

    printk("\n=== APP STATE MACHINE STARTED ===\n");

    /* Post boot event */
    app_post_simple(APP_EVT_BOOT);

    /* Main loop: wait for events and handle them */
    while (1) {
        struct app_event evt;
        int err = app_wait_event(&evt);
        if (err) {
            printk("APP: app_wait_event failed (err %d)\n", err);
            continue;
        }

        handle_event(&evt);
    }
}

void app_sm_init(void)
{
    printk("APP: State machine initialized\n");
}

void app_sm_start(void)
{
    printk("APP: Starting state machine thread\n");
    k_thread_create(&app_sm_thread, app_sm_stack, K_THREAD_STACK_SIZEOF(app_sm_stack),
                    app_sm_thread_fn, NULL, NULL, NULL,
                    K_PRIO_COOP(7), 0, K_NO_WAIT);
}
```

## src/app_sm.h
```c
/** @file
 *  @brief Application State Machine
 *  
 *  Central state machine that makes strategic decisions about
 *  BLE advertising, sleep, active state transitions, etc.
 *  
 *  State transitions are driven by events posted to app_events queue.
 */

#ifndef APP_SM_H
#define APP_SM_H

#include <stdbool.h>

/**
 * @brief Initialize the state machine (but don't start it)
 * 
 * Should be called before app_sm_start()
 */
void app_sm_init(void);

/**
 * @brief Start the state machine
 * 
 * Creates and starts the state machine thread.
 * This will post APP_EVT_BOOT internally.
 */
void app_sm_start(void);

/**
 * @brief Get current state as string (for debug logging)
 * 
 * @return Pointer to static string with state name
 */
const char *app_sm_get_state_name(void);

#endif /* APP_SM_H */
```

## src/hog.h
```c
/** @file
 *  @brief HoG Service sample
 */

/*
 * Copyright (c) 2016 Intel Corporation
 *
 * SPDX-License-Identifier: Apache-2.0
 */

#include <stdbool.h>
#include <stdint.h>
#include "app_events.h"

#ifdef __cplusplus
extern "C" {
#endif

void hog_init(void);

void hog_button_loop(void);
void input_scan_init(void);

/* Input state query helpers for combo unpair */
uint8_t input_keyboard_pressed_count(void);
bool input_encoder_button_is_pressed(void);
bool input_combo_unpair_condition(void);
bool input_combo_unpair_already_done(void);
void input_combo_unpair_set_done(bool done);

/* Input scanning control for sleep handling */
void input_scan_set_enabled(bool enabled);
void input_enter_low_power_connected(void);
void input_exit_low_power_connected(void);

/* Execute encoder HID/local actions from state machine */
void input_apply_profile_change(uint8_t profile_index);
void input_apply_backlight_command(uint8_t value);
void input_apply_sleep_timeout(uint8_t minutes);
void input_execute_sequence(uint8_t sequence_index);
void input_handle_key_pressed(uint8_t row, uint8_t col);
void input_execute_encoder_action(bool clockwise);
void input_execute_encoder_delta(int delta);
void input_handle_encoder_button_event(enum app_event_type type);
void hid_send_current_input_state(void);

/* Bluetooth bonding helper */
int ble_app_clear_bonds(void);

/* Runtime interrupt control for system off */
void input_disable_runtime_interrupts(void);

/* Inactivity timer control */
void inactivity_timer_init(void);
void inactivity_timer_reset(void);
void inactivity_timer_reset_system_off_timeout(void);
void inactivity_timer_stop(void);

/* Power management entry points */
void power_prepare_system_off(void);
void power_enter_system_off(void);

#ifdef __cplusplus
}
#endif
```
